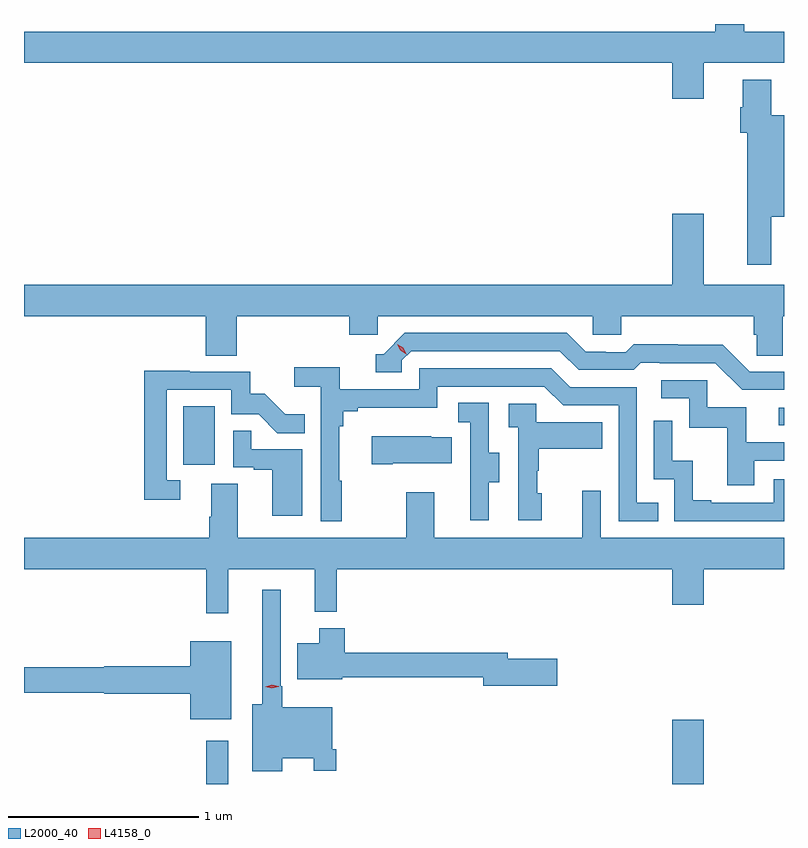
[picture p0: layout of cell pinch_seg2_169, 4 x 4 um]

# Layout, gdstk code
import gdstk
lib = gdstk.Library(unit=1e-6, precision=1e-09)
def R(c, l, rs):  # rectangles x0, y0, x1, y1
    for r in rs: c.add(gdstk.rectangle(r[:2], r[2:], *l))
def P(c, l, *ps):  # polygons
    for p in ps: c.add(gdstk.Polygon(p, *l))
L2000_40 = (2000, 40)
L4158_0 = (4158, 0)

pinch_seg2_169 = lib.new_cell('pinch_seg2_169')
R(pinch_seg2_169, L2000_40, [(1097.617,631.853,1097.733,632.08), (1100.072,631.853,1100.236,632.191), (1097.498,633.534,1097.662,633.841), (1100.631,633.741,1100.659,633.834)])
P(pinch_seg2_169, L2000_40, [(1100.236,635.648),(1100.659,635.648),(1100.659,635.812),(1100.449,635.812),(1100.449,635.853),(1100.297,635.853),(1100.297,635.812),(1096.659,635.812),(1096.659,635.648),(1100.072,635.648),(1100.072,635.46),(1100.236,635.46)],
  [(1100.593,634.838),(1100.659,634.838),(1100.659,635.373),(1100.593,635.373),(1100.593,635.56),(1100.441,635.56),(1100.441,635.414),(1100.429,635.414),(1100.429,635.28),(1100.465,635.28),(1100.465,634.587),(1100.593,634.587)],
  [(1097.78,634.316),(1098.371,634.316),(1098.371,634.218),(1098.522,634.218),(1098.522,634.316),(1099.653,634.316),(1099.653,634.218),(1099.803,634.218),(1099.803,634.316),(1100.501,634.316),(1100.501,634.218),(1100.515,634.218),(1100.515,634.108),(1100.652,634.108),(1100.652,634.316),(1100.659,634.316),(1100.659,634.48),(1100.236,634.48),(1100.236,634.855),(1100.072,634.855),(1100.072,634.48),(1096.659,634.48),(1096.659,634.316),(1097.615,634.316),(1097.615,634.108),(1097.78,634.108)],
  [(1100.659,634.023),(1100.478,634.023),(1100.336,634.165),(1100.1,634.165),(1100.1,634.168),(1099.867,634.168),(1099.825,634.125),(1099.722,634.125),(1099.722,634.128),(1099.615,634.128),(1099.516,634.227),(1098.663,634.227),(1098.552,634.116),(1098.509,634.116),(1098.509,634.02),(1098.648,634.02),(1098.648,634.083),(1098.696,634.131),(1099.479,634.131),(1099.578,634.032),(1099.867,634.032),(1099.906,634.071),(1100.005,634.071),(1100.005,634.068),(1100.298,634.068),(1100.439,633.927),(1100.659,633.927)],
  [(1098.331,633.449),(1098.319,633.449),(1098.319,633.737),(1098.338,633.737),(1098.338,633.814),(1098.415,633.814),(1098.415,633.833),(1098.834,633.833),(1098.834,633.945),(1099.398,633.945),(1099.497,633.846),(1099.788,633.846),(1099.788,633.237),(1099.997,633.237),(1099.997,633.333),(1099.884,633.333),(1099.884,633.942),(1099.534,633.942),(1099.435,634.041),(1098.738,634.041),(1098.738,633.93),(1098.32,633.93),(1098.32,634.046),(1098.081,634.046),(1098.081,633.944),(1098.222,633.944),(1098.222,633.237),(1098.331,633.237)],
  [(1097.482,633.453),(1097.409,633.453),(1097.409,633.927),(1097.751,633.927),(1097.751,633.798),(1097.895,633.798),(1097.993,633.7),(1098.137,633.7),(1098.137,633.799),(1098.033,633.799),(1097.926,633.906),(1097.85,633.906),(1097.85,634.023),(1097.531,634.023),(1097.531,634.028),(1097.293,634.028),(1097.293,633.348),(1097.482,633.348)],
  [(1100.503,633.555),(1100.659,633.555),(1100.659,633.651),(1100.461,633.651),(1100.461,633.837),(1100.256,633.837),(1100.256,633.978),(1100.013,633.978),(1100.013,633.882),(1100.16,633.882),(1100.16,633.729),(1100.359,633.729),(1100.359,633.426),(1100.503,633.426)],
  [(1099.105,633.442),(1099.159,633.442),(1099.159,633.597),(1099.104,633.597),(1099.104,633.86),(1098.945,633.86),(1098.945,633.757),(1099.008,633.757),(1099.008,633.453),(1099.007,633.453),(1099.007,633.24),(1099.105,633.24)],
  [(1099.384,633.384),(1099.359,633.384),(1099.359,633.503),(1099.369,633.503),(1099.369,633.617),(1099.703,633.617),(1099.703,633.757),(1099.356,633.757),(1099.356,633.855),(1099.209,633.855),(1099.209,633.731),(1099.26,633.731),(1099.26,633.24),(1099.384,633.24)],
  [(1100.659,633.456),(1100.604,633.456),(1100.604,633.333),(1100.275,633.333),(1100.275,633.346),(1100.18,633.346),(1100.18,633.554),(1100.07,633.554),(1100.07,633.766),(1099.974,633.766),(1099.974,633.456),(1100.082,633.456),(1100.082,633.237),(1100.659,633.237)],
  [(1098.124,633.615),(1097.855,633.615),(1097.855,633.713),(1097.76,633.713),(1097.76,633.519),(1097.867,633.519),(1097.867,633.507),(1097.966,633.507),(1097.966,633.264),(1098.124,633.264)],
  [(1098.601,633.542),(1098.911,633.542),(1098.911,633.679),(1098.803,633.679),(1098.803,633.682),(1098.489,633.682),(1098.489,633.535),(1098.601,633.535)],
  [(1097.735,632.984),(1098.188,632.984),(1098.188,632.759),(1098.305,632.759),(1098.305,632.984),(1100.072,632.984),(1100.072,632.796),(1100.236,632.796),(1100.236,632.984),(1100.659,632.984),(1100.659,633.148),(1099.695,633.148),(1099.695,633.397),(1099.598,633.397),(1099.598,633.148),(1098.817,633.148),(1098.817,633.388),(1098.67,633.388),(1098.67,633.148),(1097.785,633.148),(1097.785,633.434),(1097.645,633.434),(1097.645,633.26),(1097.633,633.26),(1097.633,633.148),(1096.659,633.148),(1096.659,632.984),(1097.617,632.984),(1097.617,632.751),(1097.735,632.751)],
  [(1098.019,631.988),(1098.185,631.988),(1098.185,631.923),(1098.302,631.923),(1098.302,632.035),(1098.282,632.035),(1098.282,632.257),(1098.019,632.257),(1098.019,632.368),(1098.009,632.368),(1098.009,632.875),(1097.912,632.875),(1097.912,632.272),(1097.861,632.272),(1097.861,631.92),(1098.019,631.92)],
  [(1099.465,632.511),(1099.204,632.511),(1099.204,632.545),(1098.347,632.545),(1098.347,632.674),(1098.212,632.674),(1098.212,632.593),(1098.098,632.593),(1098.098,632.405),(1098.334,632.405),(1098.334,632.416),(1099.076,632.416),(1099.076,632.369),(1099.465,632.369)],
  [(1097.749,632.605),(1097.534,632.605),(1097.534,632.474),(1097.082,632.474),(1097.082,632.468),(1096.659,632.468),(1096.659,632.332),(1097.082,632.332),(1097.082,632.327),(1097.534,632.327),(1097.534,632.195),(1097.749,632.195)])
P(pinch_seg2_169, L4158_0, [(1097.964,632.356),(1097.928,632.366),(1097.927,632.366),(1097.928,632.366),(1097.964,632.376),(1098,632.367),(1098,632.366),(1098,632.366)],
  [(1098.67,634.116),(1098.64,634.135),(1098.624,634.168),(1098.624,634.168),(1098.624,634.168),(1098.655,634.149),(1098.671,634.116),(1098.671,634.116)])

lib.write_gds('pinch_seg2_169.gds')
